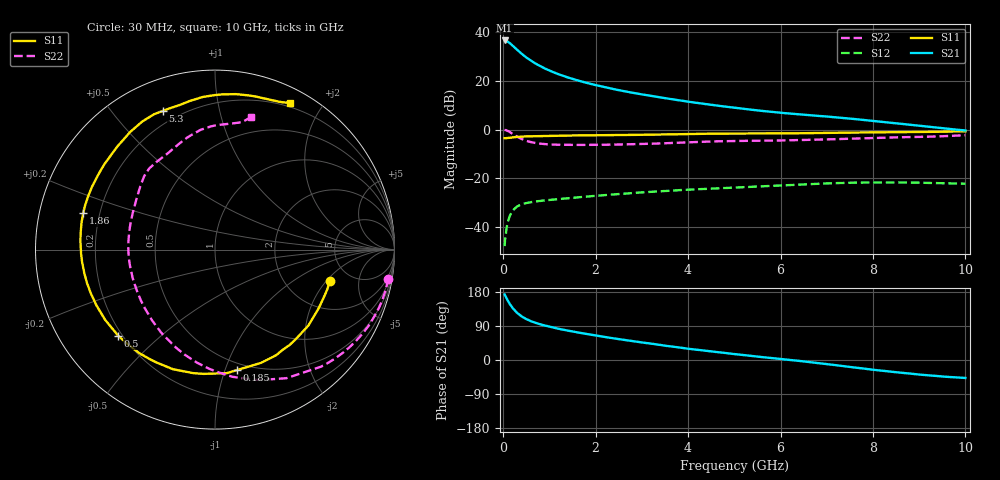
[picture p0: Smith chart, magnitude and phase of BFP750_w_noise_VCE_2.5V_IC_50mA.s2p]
! (c) 2016  Infineon Technologies AG, Munich
! Infineon Technologies  Discrete & RF Semiconductors
! BFP750
! VCE =  2.5 V,  IC =  50 mA
! Common Emitter S-Parameters:  Jan 2016
# GHz  S  MA  R  50
!  f  S11  S21  S12  S22
! GHz  MAG  ANG  MAG  ANG  MAG  ANG  MAG  ANG
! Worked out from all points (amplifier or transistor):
!   229 points, 30 MHz to 10 GHz, reference 50 ohm
!   highest |S21| = 36.6 dB at 30 MHz (marker M1)
!   |S21| within 3 dB of that: start of sweep to 254 MHz
!   unconditionally stable (mu >= 1): 4.015 GHz to end of sweep
!   at 280 MHz: K = 0.17, MSG = 32.6 dB, |S12| = -32.0 dB
!   at 1.78 GHz: K = 0.70, MSG = 23.5 dB, |S12| = -27.6 dB
!   at 10 GHz: K = 1.05, MAG = 9.5 dB, |S12| = -22.3 dB
!   lowest NFmin = 1.04 dB at 450 MHz
!   S11 on the Smith chart (normalised r, x): 30 MHz: 3.52, -2.18; 185 MHz: 0.44, -1.10; 500 MHz: 0.18, -0.37; 1.86 GHz: 0.14, +0.13; 5.3 GHz: 0.14, +0.68; 10 GHz: 0.15, +1.62
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0.03  0.6638 -15.1  67.63 172.8  0.004 83.7  0.9789 -9.5
0.07  0.6648 -34.6  66.06 162.9  0.0091 74.4  0.9617 -23.2
0.11  0.6747 -52.0  62.73 154.3  0.0136 67.5  0.9256 -36.1
0.15  0.6811 -67.9  58.81 146.3  0.0174 60.8  0.8801 -47.8
0.185  0.6823 -79.7  54.85 140.4  0.02 55.7  0.8332 -56.8
0.24  0.6953 -95.2  49.24 132.1  0.0233 49.2  0.7726 -70.0
0.32  0.7056 -112.9  41.91 122.5  0.0267 42.1  0.6956 -85.8
0.4  0.7147 -126.1  35.95 114.9  0.0289 37.0  0.638 -99.0
0.5  0.7218 -138.3  30.23 107.9  0.0308 32.7  0.5862 -112.2
0.6  0.7265 -147.4  25.93 102.4  0.0321 29.9  0.5513 -122.9
0.7  0.7299 -154.7  22.63 98.0  0.0332 28.0  0.5279 -131.6
0.9  0.7374 -165.6  17.96 90.8  0.0349 25.8  0.5013 -145.3
1.2  0.7462 -177.5  13.63 82.3  0.0372 24.1  0.4859 -160.0
1.7  0.7588 168.3  9.667 70.8  0.041 22.9  0.4824 -176.4
1.86  0.7617 164.6  8.813 67.5  0.0422 22.5  0.4832 179.3
2.6  0.7711 149.2  6.16 53.3  0.0478 20.2  0.4935 162.4
3.4  0.7875 135.0  4.562 39.7  0.054 16.7  0.5173 148.3
5.1  0.8264 113.0  2.732 14.4  0.0649 7.8  0.5827 127.8
5.3  0.8259 110.7  2.597 11.7  0.0661 6.5  0.5847 125.5
6.8  0.8471 96.5  1.91 -7.8  0.0765 -3.4  0.619 109.6
8.4  0.8795 77.6  1.374 -30.9  0.0817 -18.5  0.6874 91.7
10  0.9189 62.9  0.955 -47.4  0.0768 -29.8  0.7648 74.7
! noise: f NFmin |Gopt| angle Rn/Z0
0.45  1.04  0.18  -167  0.47
0.9  1.06  0.23  -161  0.24
1.5  1.08  0.34  -155  0.09
1.9  1.09  0.36  -150  0.08
2.4  1.1  0.37  -143  0.09
3.5  1.33  0.38  -128  0.1
